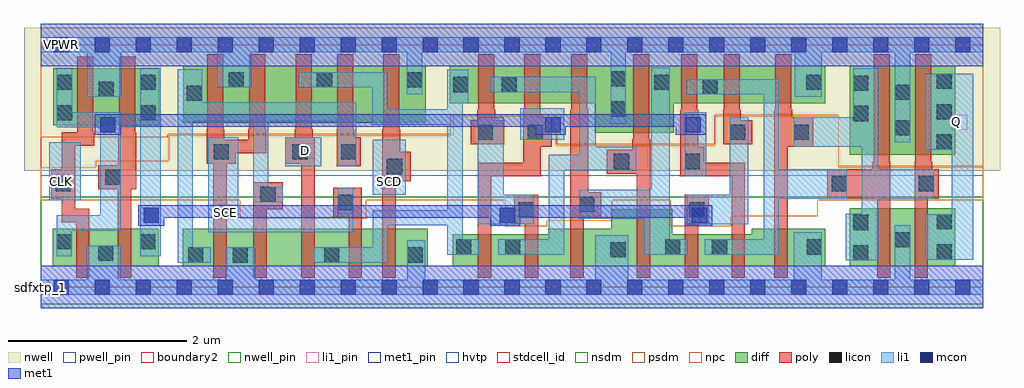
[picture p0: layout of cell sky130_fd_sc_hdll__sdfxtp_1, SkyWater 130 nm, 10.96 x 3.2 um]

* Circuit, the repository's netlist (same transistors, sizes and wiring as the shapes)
* Copyright 2020 The SkyWater PDK Authors
*
* Licensed under the Apache License, Version 2.0 (the "License");
* you may not use this file except in compliance with the License.
* You may obtain a copy of the License at
*
*     https://www.apache.org/licenses/LICENSE-2.0
*
* Unless required by applicable law or agreed to in writing, software
* distributed under the License is distributed on an "AS IS" BASIS,
* WITHOUT WARRANTIES OR CONDITIONS OF ANY KIND, either express or implied.
* See the License for the specific language governing permissions and
* limitations under the License.
*
* SPDX-License-Identifier: Apache-2.0

.SUBCKT sky130_fd_sc_hdll__sdfxtp_1 CLK D SCD SCE VGND VNB VPB VPWR Q
*.PININFO CLK:I D:I SCD:I SCE:I VGND:I VNB:I VPB:I VPWR:I Q:O
MI652 M1 clkpos S0 VNB sky130_fd_pr__nfet_01v8 m=1 w=0.36U l=0.15U mult=1 sa=0.265
+ sb=0.265 sd=0.28 area=0.063 perim=1.14
MI649 S1 S0 VGND VNB sky130_fd_pr__nfet_01v8 m=1 w=0.65U l=0.15U mult=1 sa=0.265
+ sb=0.265 sd=0.28 area=0.063 perim=1.14
MI634 M1 M0 VGND VNB sky130_fd_pr__nfet_01v8 m=1 w=0.64U l=0.15U mult=1 sa=0.265
+ sb=0.265 sd=0.28 area=0.063 perim=1.14
MI636 clkpos clkneg VGND VNB sky130_fd_pr__nfet_01v8 m=1 w=0.42U l=0.15U mult=1
+ sa=0.265 sb=0.265 sd=0.28 area=0.063 perim=1.14
MI639 sceb SCE VGND VNB sky130_fd_pr__nfet_01v8 m=1 w=0.42U l=0.15U mult=1 sa=0.265
+ sb=0.265 sd=0.28 area=0.063 perim=1.14
MI657 M0 clkpos net75 VNB sky130_fd_pr__nfet_01v8 m=1 w=0.36U l=0.15U mult=1 sa=0.265
+ sb=0.265 sd=0.28 area=0.063 perim=1.14
MI656 net75 M1 VGND VNB sky130_fd_pr__nfet_01v8 m=1 w=0.42U l=0.15U mult=1 sa=0.265
+ sb=0.265 sd=0.28 area=0.063 perim=1.14
MI641 net54 S1 VGND VNB sky130_fd_pr__nfet_01v8 m=1 w=0.42U l=0.15U mult=1 sa=0.265
+ sb=0.265 sd=0.28 area=0.063 perim=1.14
MI646 Q S1 VGND VNB sky130_fd_pr__nfet_01v8 m=1 w=0.65U l=0.15U mult=1 sa=0.265
+ sb=0.265 sd=0.28 area=0.063 perim=1.14
MI648 db clkneg M0 VNB sky130_fd_pr__nfet_01v8 m=1 w=0.36U l=0.15U mult=1 sa=0.265
+ sb=0.265 sd=0.28 area=0.063 perim=1.14
MI635 clkneg CLK VGND VNB sky130_fd_pr__nfet_01v8 m=1 w=0.42U l=0.15U mult=1 sa=0.265
+ sb=0.265 sd=0.28 area=0.063 perim=1.14
MI642 S0 clkneg net54 VNB sky130_fd_pr__nfet_01v8 m=1 w=0.36U l=0.15U mult=1 sa=0.265
+ sb=0.265 sd=0.28 area=0.063 perim=1.14
MI98 db D n0 VNB sky130_fd_pr__nfet_01v8 m=1 w=0.42U l=0.15U mult=1 sa=0.265 sb=0.265
+ sd=0.28 area=0.525 perim=3.1
MI103 n1 SCD VGND VNB sky130_fd_pr__nfet_01v8 m=1 w=0.42U l=0.15U mult=1 sa=0.265
+ sb=0.265 sd=0.28 area=0.525 perim=3.1
MI120 db SCE n1 VNB sky130_fd_pr__nfet_01v8 m=1 w=0.42U l=0.15U mult=1 sa=0.265
+ sb=0.265 sd=0.28 area=0.525 perim=3.1
MI104 n0 sceb VGND VNB sky130_fd_pr__nfet_01v8 m=1 w=0.42U l=0.15U mult=1 sa=0.265
+ sb=0.265 sd=0.28 area=0.525 perim=3.1
MI643 net122 S1 VPWR VPB sky130_fd_pr__pfet_01v8_hvt m=1 w=0.42U l=0.18U mult=1
+ sa=0.265 sb=0.265 sd=0.28 area=0.063 perim=1.14
MI640 sceb SCE VPWR VPB sky130_fd_pr__pfet_01v8_hvt m=1 w=0.64U l=0.18U mult=1
+ sa=0.265 sb=0.265 sd=0.28 area=0.063 perim=1.14
MI658 net155 M1 VPWR VPB sky130_fd_pr__pfet_01v8_hvt m=1 w=0.42U l=0.18U mult=1
+ sa=0.265 sb=0.265 sd=0.28 area=0.063 perim=1.14
MI645 Q S1 VPWR VPB sky130_fd_pr__pfet_01v8_hvt m=1 w=1.0U l=0.18U mult=1 sa=0.265
+ sb=0.265 sd=0.28 area=0.063 perim=1.14
MI651 db clkpos M0 VPB sky130_fd_pr__pfet_01v8_hvt m=1 w=0.42U l=0.18U mult=1 sa=0.265
+ sb=0.265 sd=0.28 area=0.063 perim=1.14
MI653 M1 clkneg S0 VPB sky130_fd_pr__pfet_01v8_hvt m=1 w=0.42U l=0.18U mult=1 sa=0.265
+ sb=0.265 sd=0.28 area=0.063 perim=1.14
MI659 M0 clkneg net155 VPB sky130_fd_pr__pfet_01v8_hvt m=1 w=0.42U l=0.18U mult=1
+ sa=0.265 sb=0.265 sd=0.28 area=0.063 perim=1.14
MI638 clkneg CLK VPWR VPB sky130_fd_pr__pfet_01v8_hvt m=1 w=0.64U l=0.18U mult=1
+ sa=0.265 sb=0.265 sd=0.28 area=0.063 perim=1.14
MI637 clkpos clkneg VPWR VPB sky130_fd_pr__pfet_01v8_hvt m=1 w=0.64U l=0.18U mult=1
+ sa=0.265 sb=0.265 sd=0.28 area=0.063 perim=1.14
MI650 S1 S0 VPWR VPB sky130_fd_pr__pfet_01v8_hvt m=1 w=1.0U l=0.18U mult=1 sa=0.265
+ sb=0.265 sd=0.28 area=0.063 perim=1.14
MI644 S0 clkpos net122 VPB sky130_fd_pr__pfet_01v8_hvt m=1 w=0.42U l=0.18U mult=1
+ sa=0.265 sb=0.265 sd=0.28 area=0.063 perim=1.14
MI664 M1 M0 VPWR VPB sky130_fd_pr__pfet_01v8_hvt m=1 w=0.75U l=0.18U mult=1 sa=0.265
+ sb=0.265 sd=0.28 area=0.063 perim=1.14
MI107 p0 SCE VPWR VPB sky130_fd_pr__pfet_01v8_hvt m=1 w=0.64U l=0.18U mult=1 sa=0.265
+ sb=0.265 sd=0.28 area=0.063 perim=1.14
MI94 db D p0 VPB sky130_fd_pr__pfet_01v8_hvt m=1 w=0.64U l=0.18U mult=1 sa=0.265
+ sb=0.265 sd=0.28 area=0.063 perim=1.14
MI108 p1 SCD VPWR VPB sky130_fd_pr__pfet_01v8_hvt m=1 w=0.64U l=0.18U mult=1 sa=0.265
+ sb=0.265 sd=0.28 area=0.063 perim=1.14
MI101 db sceb p1 VPB sky130_fd_pr__pfet_01v8_hvt m=1 w=0.64U l=0.18U mult=1 sa=0.265
+ sb=0.265 sd=0.28 area=0.063 perim=1.14
.ENDS sky130_fd_sc_hdll__sdfxtp_1

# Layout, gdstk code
import gdstk
lib = gdstk.Library(unit=1e-6, precision=1e-09)
def R(c, l, rs):  # rectangles x0, y0, x1, y1
    for r in rs: c.add(gdstk.rectangle(r[:2], r[2:], *l))
def A(c, l, x, y, w, h, nx, ny, dx, dy):  # array of equal rectangles
    R(c, l, [(x+i*dx, y+j*dy, x+i*dx+w, y+j*dy+h) for i in range(nx) for j in range(ny)])
def P(c, l, *ps):  # polygons
    for p in ps: c.add(gdstk.Polygon(p, *l))
nwell_pin = (64, 16)
nwell = (64, 20)
diff = (65, 20)
poly = (66, 20)
licon = (66, 44)
li1_pin = (67, 16)
li1 = (67, 20)
mcon = (67, 44)
met1_pin = (68, 16)
met1 = (68, 20)
hvtp = (78, 44)
stdcell_id = (81, 4)
nsdm = (93, 44)
psdm = (94, 20)
npc = (95, 20)
pwell_pin = (122, 16)
boundary2 = (236, 0)

sky130_fd_sc_hdll__sdfxt = lib.new_cell('sky130_fd_sc_hdll__sdfxtp_1')
R(sky130_fd_sc_hdll__sdfxt, nwell_pin, [(0.145,2.635,0.315,2.805), (0.145,2.635,0.315,2.805)])
R(sky130_fd_sc_hdll__sdfxt, nwell, [(-0.19,1.305,10.77,2.91)])
R(sky130_fd_sc_hdll__sdfxt, diff, [(0.135,0.235,1.325,0.655), (1.595,0.235,4.345,0.655), (9.08,0.235,10.27,0.885), (9.08,1.485,10.27,2.485), (0.14,1.815,1.33,2.455), (1.6,1.845,4.32,2.485)])
P(sky130_fd_sc_hdll__sdfxt, diff, [(8.81,2.485),(4.59,2.485),(4.59,2.065),(6.22,2.065),(6.22,1.735),(7.105,1.735),(7.105,2.065),(8.81,2.065)],
  [(8.81,0.655),(7.985,0.655),(7.985,0.595),(7.09,0.595),(7.09,0.875),(6.405,0.875),(6.405,0.655),(5.695,0.655),(5.695,0.595),(4.625,0.595),(4.625,0.235),(8.81,0.235)])
P(sky130_fd_sc_hdll__sdfxt, poly, [(0.6,1.74),(0.59,1.74),(0.59,2.585),(0.41,2.585),(0.41,1.74),(0.235,1.74),(0.235,1.325),(0.115,1.325),(0.115,0.995),(0.235,0.995),(0.235,0.73),(0.395,0.73),(0.395,0.105),(0.545,0.105),(0.545,0.88),(0.385,0.88),(0.385,1.59),(0.6,1.59)],
  [(1.07,1.74),(1.06,1.74),(1.06,2.585),(0.88,2.585),(0.88,1.74),(0.87,1.74),(0.87,1.37),(0.645,1.37),(0.645,1.1),(0.865,1.1),(0.865,0.105),(1.015,0.105),(1.015,1.1),(1.07,1.1)],
  [(2.53,1.77),(2.52,1.77),(2.52,2.615),(2.34,2.615),(2.34,1.77),(2.33,1.77),(2.33,1.655),(2.06,1.655),(2.06,1.77),(2.05,1.77),(2.05,2.615),(1.87,2.615),(1.87,1.77),(1.86,1.77),(1.86,1.385),(1.935,1.385),(1.935,0.105),(2.085,0.105),(2.085,1.385),(2.19,1.385),(2.19,1.505),(2.53,1.505)],
  [(2.715,1.175),(2.385,1.175),(2.385,0.105),(2.535,0.105),(2.535,0.875),(2.715,0.875)],
  [(3.075,1.685),(3.05,1.685),(3.05,1.77),(3.04,1.77),(3.04,2.615),(2.86,2.615),(2.86,1.77),(2.85,1.77),(2.85,1.685),(2.745,1.685),(2.745,1.385),(2.925,1.385),(2.925,0.105),(3.075,0.105)],
  [(3.59,1.685),(3.52,1.685),(3.52,1.77),(3.51,1.77),(3.51,2.615),(3.33,2.615),(3.33,1.77),(3.32,1.77),(3.32,1.355),(3.59,1.355)],
  [(3.605,1.115),(3.285,1.115),(3.285,0.785),(3.455,0.785),(3.455,0.105),(3.605,0.105)],
  [(4.155,1.52),(4.035,1.52),(4.035,1.77),(4.025,1.77),(4.025,2.615),(3.845,2.615),(3.845,1.77),(3.835,1.77),(3.835,0.105),(3.985,0.105),(3.985,1.19),(4.155,1.19)],
  [(5.205,1.875),(5.1,1.875),(5.1,1.99),(5.09,1.99),(5.09,2.615),(4.91,2.615),(4.91,1.99),(4.9,1.99),(4.9,1.875),(4.825,1.875),(4.825,1.605),(5.205,1.605)],
  [(5.585,1.035),(5.315,1.035),(5.315,0.705),(5.435,0.705),(5.435,0.105),(5.585,0.105)],
  [(5.735,1.905),(5.615,1.905),(5.615,1.99),(5.605,1.99),(5.605,2.615),(5.425,2.615),(5.425,1.99),(5.415,1.99),(5.415,1.395),(4.905,1.395),(4.905,0.105),(5.055,0.105),(5.055,1.245),(5.615,1.245),(5.615,1.575),(5.735,1.575)],
  [(6.295,1.065),(6.145,1.065),(6.145,1.99),(6.135,1.99),(6.135,2.615),(5.955,2.615),(5.955,1.99),(5.945,1.99),(5.945,0.105),(6.095,0.105),(6.095,0.795),(6.295,0.795)],
  [(6.84,1.66),(6.83,1.66),(6.83,2.615),(6.65,2.615),(6.65,1.66),(6.64,1.66),(6.64,1.545),(6.355,1.545),(6.355,1.275),(6.69,1.275),(6.69,0.105),(6.84,0.105)],
  [(7.5,1.035),(7.23,1.035),(7.23,0.105),(7.38,0.105),(7.38,0.705),(7.5,0.705)],
  [(7.905,1.395),(7.45,1.395),(7.45,1.575),(7.38,1.575),(7.38,1.99),(7.37,1.99),(7.37,2.615),(7.19,2.615),(7.19,1.99),(7.18,1.99),(7.18,1.245),(7.755,1.245),(7.755,0.105),(7.905,0.105)],
  [(7.99,1.875),(7.86,1.875),(7.86,1.99),(7.85,1.99),(7.85,2.615),(7.67,2.615),(7.67,1.99),(7.66,1.99),(7.66,1.605),(7.99,1.605)],
  [(8.675,1.905),(8.435,1.905),(8.435,1.99),(8.425,1.99),(8.425,2.615),(8.245,2.615),(8.245,1.99),(8.235,1.99),(8.235,0.105),(8.385,0.105),(8.385,1.575),(8.675,1.575)],
  [(9.54,1.41),(9.53,1.41),(9.53,2.615),(9.35,2.615),(9.35,1.41),(9.34,1.41),(9.34,1.325),(8.83,1.325),(8.83,0.995),(9.39,0.995),(9.39,0.105),(9.54,0.105)],
  [(10.08,1.325),(10.01,1.325),(10.01,1.41),(10,1.41),(10,2.615),(9.82,2.615),(9.82,1.41),(9.81,1.41),(9.81,0.105),(9.96,0.105),(9.96,0.995),(10.08,0.995)])
A(sky130_fd_sc_hdll__sdfxt, licon, 10.06, 1.545, 0.17, 0.17, 1, 3, 0, 0.34)
R(sky130_fd_sc_hdll__sdfxt, licon, [(1.655,0.275,1.825,0.445), (2.155,0.275,2.325,0.445), (3.18,0.275,3.35,0.445), (4.115,0.275,4.285,0.445), (0.645,0.295,0.815,0.465), (9.12,0.3,9.29,0.47), (10.06,0.31,10.23,0.48), (6.395,0.335,6.565,0.505), (4.665,0.365,4.835,0.535), (5.215,0.365,5.385,0.535), (7.01,0.365,7.18,0.535), (7.535,0.365,7.705,0.535), (8.6,0.365,8.77,0.535), (0.175,0.425,0.345,0.595), (1.115,0.425,1.285,0.595), (9.59,0.445,9.76,0.615), (9.12,0.64,9.29,0.81), (10.06,0.65,10.23,0.82), (5.365,0.785,5.535,0.955), (7.28,0.785,7.45,0.955), (6.045,0.845,6.215,1.015), (3.335,0.865,3.505,1.035), (2.465,0.955,2.635,1.125), (0.165,1.075,0.335,1.245), (8.88,1.075,9.05,1.245), (9.86,1.075,10.03,1.245), (0.725,1.15,0.895,1.32), (3.885,1.27,4.055,1.44), (6.435,1.325,6.605,1.495), (7.23,1.325,7.4,1.495), (1.94,1.435,2.11,1.605), (2.825,1.435,2.995,1.605), (3.37,1.435,3.54,1.605), (4.905,1.655,5.075,1.825), (5.465,1.655,5.635,1.825), (7.74,1.655,7.91,1.825), (8.455,1.655,8.625,1.825), (9.59,1.705,9.76,1.875), (9.12,1.865,9.29,2.035), (0.18,1.875,0.35,2.045), (1.12,1.875,1.29,2.045), (6.4,1.915,6.57,2.085), (1.64,2.09,1.81,2.26), (9.59,2.105,9.76,2.275), (0.65,2.135,0.82,2.305), (7.43,2.165,7.6,2.335), (4.63,2.19,4.8,2.36), (5.175,2.19,5.345,2.36), (9.12,2.205,9.29,2.375), (0.18,2.215,0.35,2.385), (1.12,2.215,1.29,2.385), (6.89,2.215,7.06,2.385), (8.595,2.215,8.765,2.385), (2.11,2.245,2.28,2.415), (3.1,2.245,3.27,2.415), (4.11,2.245,4.28,2.415), (6.4,2.255,6.57,2.425)])
R(sky130_fd_sc_hdll__sdfxt, li1_pin, [(1.985,0.76,2.155,0.93), (0.145,1.105,0.315,1.275), (3.82,1.105,3.99,1.275), (2.905,1.445,3.075,1.615), (10.23,1.765,10.4,1.935)])
R(sky130_fd_sc_hdll__sdfxt, li1, [(1.115,0.345,1.345,2.465), (0.095,0.975,0.445,1.625), (3.725,1.035,4.095,1.655), (7.23,1.245,7.47,1.965), (2.745,1.355,3.15,1.685), (5.385,1.655,5.875,2.01)])
P(sky130_fd_sc_hdll__sdfxt, li1, [(10.58,2.805),(0,2.805),(0,2.635),(0.52,2.635),(0.52,2.135),(0.9,2.135),(0.9,2.635),(1.98,2.635),(1.98,2.245),(2.36,2.245),(2.36,2.635),(4.11,2.635),(4.11,2.165),(4.28,2.165),(4.28,2.635),(6.4,2.635),(6.4,1.835),(6.57,1.835),(6.57,2.635),(8.465,2.635),(8.465,2.135),(8.77,2.135),(8.77,2.635),(9.59,2.635),(9.59,1.625),(9.76,1.625),(9.76,2.635),(10.58,2.635)],
  [(10.47,2.395),(9.93,2.395),(9.93,1.545),(10.23,1.545),(10.23,0.82),(9.93,0.82),(9.93,0.305),(10.47,0.305)],
  [(5.535,1.035),(5.195,1.035),(5.195,1.905),(4.905,1.905),(4.905,0.705),(5.535,0.705)],
  [(4.915,0.535),(4.735,0.535),(4.735,2.065),(4.8,2.065),(4.8,2.44),(4.565,2.44),(4.565,1.995),(3.89,1.995),(3.89,2.415),(2.895,2.415),(2.895,2.245),(3.72,2.245),(3.72,1.825),(4.565,1.825),(4.565,0.865),(3.725,0.865),(3.725,0.445),(3.07,0.445),(3.07,0.275),(3.895,0.275),(3.895,0.695),(4.565,0.695),(4.565,0.365),(4.915,0.365)],
  [(10.03,1.325),(9.405,1.325),(9.405,2.455),(9.12,2.455),(9.12,1.905),(8.455,1.905),(8.455,1.575),(9.22,1.575),(9.22,0.825),(9.04,0.825),(9.04,0.3),(9.4,0.3),(9.4,0.995),(10.03,0.995)],
  [(10.58,0.085),(9.76,0.085),(9.76,0.695),(9.59,0.695),(9.59,0.085),(8.77,0.085),(8.77,0.615),(8.455,0.615),(8.455,0.085),(6.595,0.085),(6.595,0.585),(6.225,0.585),(6.225,0.085),(4.315,0.085),(4.315,0.525),(4.115,0.525),(4.115,0.085),(2.405,0.085),(2.405,0.445),(2.075,0.445),(2.075,0.085),(0.895,0.085),(0.895,0.465),(0.515,0.465),(0.515,0.085),(0,0.085),(0,-0.085),(10.58,-0.085)],
  [(3.54,2.075),(1.81,2.075),(1.81,2.445),(1.535,2.445),(1.535,0.275),(1.905,0.275),(1.905,0.445),(1.705,0.445),(1.705,1.86),(2.385,1.86),(2.385,0.955),(2.715,0.955),(2.715,1.125),(2.555,1.125),(2.555,1.86),(3.33,1.86),(3.33,1.355),(3.54,1.355)],
  [(3.505,1.115),(3.335,1.115),(3.335,0.785),(2.215,0.785),(2.215,1.685),(1.88,1.685),(1.88,0.615),(3.505,0.615)],
  [(0.895,1.965),(0.35,1.965),(0.35,2.465),(0.18,2.465),(0.18,1.795),(0.665,1.795),(0.665,0.805),(0.175,0.805),(0.175,0.345),(0.345,0.345),(0.345,0.635),(0.895,0.635)],
  [(7.26,0.535),(7.06,0.535),(7.06,2.465),(6.855,2.465),(6.855,1.095),(6.045,1.095),(6.045,0.765),(6.775,0.765),(6.775,0.365),(7.26,0.365)],
  [(6.685,1.575),(6.23,1.575),(6.23,2.36),(5.045,2.36),(5.045,2.19),(6.045,2.19),(6.045,1.485),(5.705,1.485),(5.705,0.535),(5.135,0.535),(5.135,0.365),(5.875,0.365),(5.875,1.315),(6.685,1.315)],
  [(7.945,1.905),(7.735,1.905),(7.735,1.035),(7.25,1.035),(7.25,0.705),(7.945,0.705)],
  [(9.05,1.325),(8.285,1.325),(8.285,2.335),(7.25,2.335),(7.25,2.165),(8.115,2.165),(8.115,0.535),(7.455,0.535),(7.455,0.365),(8.285,0.365),(8.285,0.995),(9.05,0.995)])
A(sky130_fd_sc_hdll__sdfxt, mcon, 0.145, -0.085, 0.17, 0.17, 23, 2, 0.46, 2.72)
R(sky130_fd_sc_hdll__sdfxt, mcon, [(1.155,0.72,1.325,0.89), (5.155,0.72,5.325,0.89), (7.31,0.72,7.48,0.89), (0.665,1.74,0.835,1.91), (5.665,1.74,5.835,1.91), (7.24,1.74,7.41,1.91)])
R(sky130_fd_sc_hdll__sdfxt, met1_pin, [(0.145,-0.085,0.315,0.085), (0.145,2.635,0.315,2.805)])
R(sky130_fd_sc_hdll__sdfxt, met1, [(0,-0.24,10.58,0.24), (0,2.48,10.58,2.96)])
P(sky130_fd_sc_hdll__sdfxt, met1, [(7.54,0.92),(1.095,0.92),(1.095,0.69),(1.385,0.69),(1.385,0.78),(5.045,0.78),(5.045,0.69),(5.385,0.69),(5.385,0.78),(7.23,0.78),(7.23,0.69),(7.54,0.69)],
  [(7.47,1.94),(0.605,1.94),(0.605,1.71),(0.895,1.71),(0.895,1.8),(5.555,1.8),(5.555,1.71),(5.895,1.71),(5.895,1.8),(7.13,1.8),(7.13,1.71),(7.47,1.71)])
R(sky130_fd_sc_hdll__sdfxt, hvtp, [(0,1.25,10.58,2.72)])
R(sky130_fd_sc_hdll__sdfxt, stdcell_id, [(0,0,10.58,2.72)])
R(sky130_fd_sc_hdll__sdfxt, nsdm, [(0,-0.19,10.58,1.015)])
P(sky130_fd_sc_hdll__sdfxt, psdm, [(10.58,2.91),(0,2.91),(0,1.685),(1.425,1.685),(1.425,1.715),(4.6,1.715),(4.6,1.935),(5.795,1.935),(5.795,1.605),(7.565,1.605),(7.565,1.935),(8.955,1.935),(8.955,1.355),(10.58,1.355)])
P(sky130_fd_sc_hdll__sdfxt, npc, [(10.58,1.345),(8.96,1.345),(8.96,1.925),(7.575,1.925),(7.575,1.595),(5.785,1.595),(5.785,1.925),(4.63,1.925),(4.63,1.705),(1.435,1.705),(1.435,1.42),(0.615,1.42),(0.615,1.345),(0,1.345),(0,0.975),(2.235,0.975),(2.235,0.775),(3.205,0.775),(3.205,0.765),(3.655,0.765),(3.655,0.975),(5.215,0.975),(5.215,0.685),(5.685,0.685),(5.685,0.745),(6.415,0.745),(6.415,0.975),(7.065,0.975),(7.065,0.685),(7.745,0.685),(7.745,0.795),(8.725,0.795),(8.725,0.975),(10.58,0.975)])
R(sky130_fd_sc_hdll__sdfxt, pwell_pin, [(0.145,-0.085,0.315,0.085), (0.145,-0.085,0.315,0.085)])
R(sky130_fd_sc_hdll__sdfxt, boundary2, [(0,0,10.58,2.72)])
sky130_fd_sc_hdll__sdfxt.add(gdstk.Label('sdfxtp_1', (0,0), layer=83, texttype=44))
sky130_fd_sc_hdll__sdfxt.add(gdstk.Label('VPWR', (0.23,2.72), layer=68, texttype=5))
sky130_fd_sc_hdll__sdfxt.add(gdstk.Label('VGND', (0.23,0), layer=68, texttype=5))
sky130_fd_sc_hdll__sdfxt.add(gdstk.Label('CLK', (0.23,1.19), layer=67, texttype=5))
sky130_fd_sc_hdll__sdfxt.add(gdstk.Label('Q', (10.285,1.865), layer=67, texttype=5))
sky130_fd_sc_hdll__sdfxt.add(gdstk.Label('SCD', (3.91,1.19), layer=67, texttype=5))
sky130_fd_sc_hdll__sdfxt.add(gdstk.Label('D', (2.975,1.53), layer=67, texttype=5))
sky130_fd_sc_hdll__sdfxt.add(gdstk.Label('SCE', (2.07,0.84), layer=67, texttype=5))
sky130_fd_sc_hdll__sdfxt.add(gdstk.Label('VPB', (0.23,2.72), layer=64, texttype=5))
sky130_fd_sc_hdll__sdfxt.add(gdstk.Label('VPB', (0.23,2.72), layer=64, texttype=5))
sky130_fd_sc_hdll__sdfxt.add(gdstk.Label('VNB', (0.23,0), layer=64, texttype=59))
sky130_fd_sc_hdll__sdfxt.add(gdstk.Label('VNB', (0.23,0), layer=64, texttype=59))

lib.write_gds('sky130_fd_sc_hdll__sdfxtp_1.gds')
